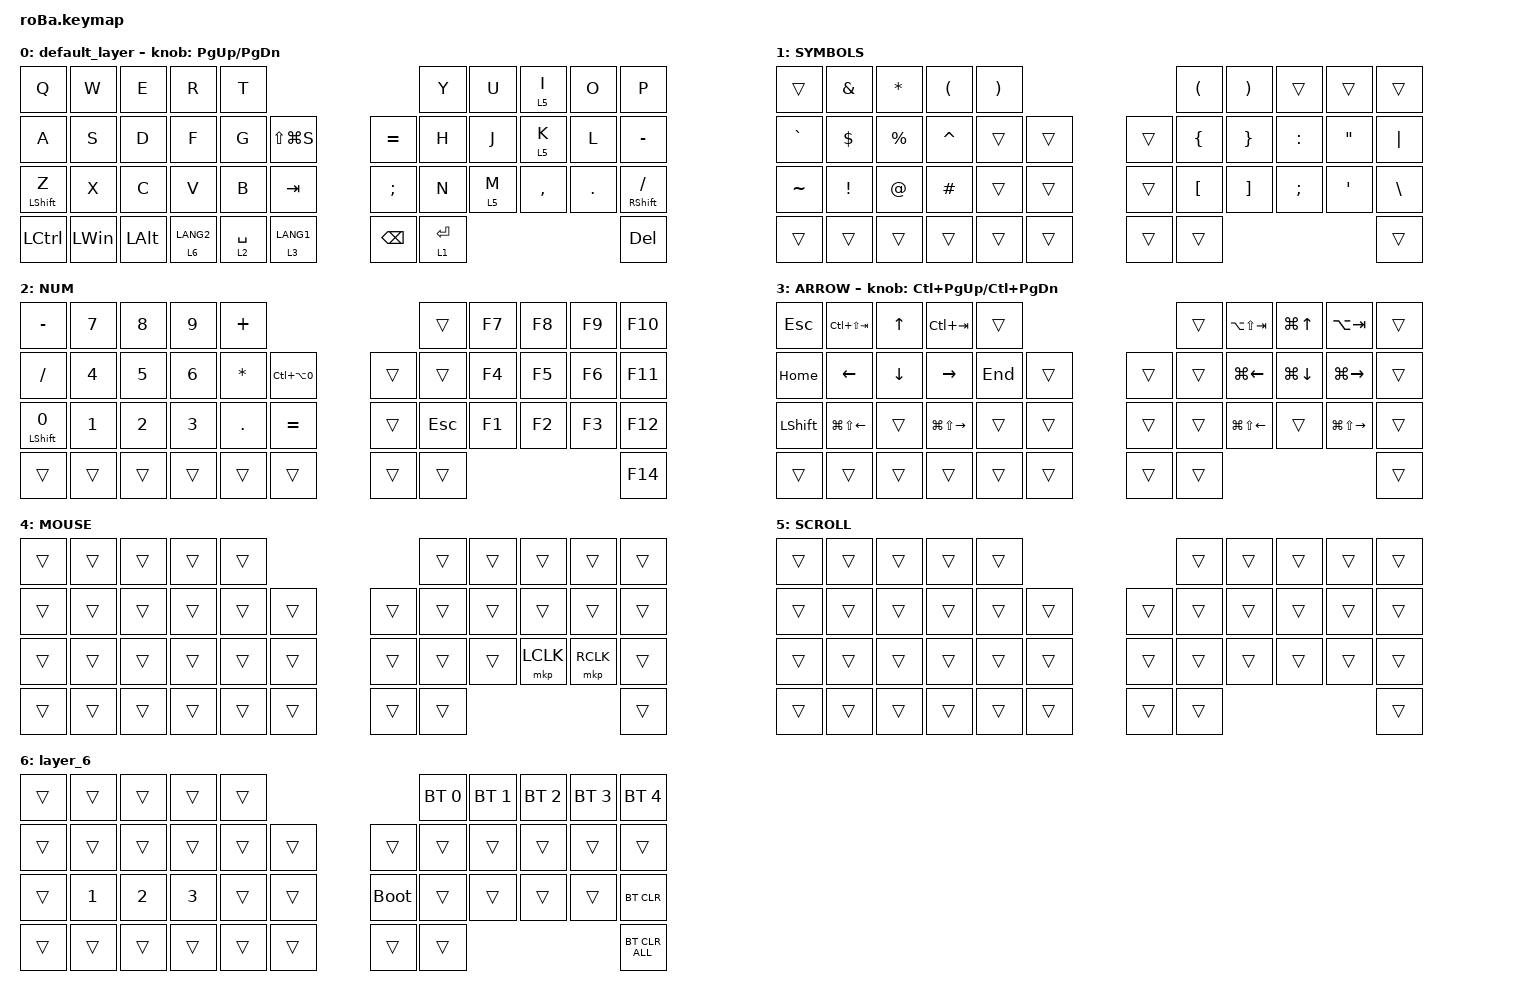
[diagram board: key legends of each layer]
#include <behaviors.dtsi>
#include <dt-bindings/zmk/bt.h>
#include <dt-bindings/zmk/keys.h>
#include <dt-bindings/zmk/pointing.h>

&mt {
    flavor = "balanced";
    quick-tap-ms = <0>;
};

&trackball {
    automouse-layer = <4>;
    scroll-layers = <5>;

    // arrows {
    //     layers = <3>;
    //     bindings =
    //         <&kp RIGHT_ARROW>,
    //         <&kp LEFT_ARROW>,
    //         <&kp UP_ARROW>,
    //         <&kp DOWN_ARROW>;
    //     tick = <10>;
    //     wait-ms = <5>;
    //     tap-ms = <5>;
    // };
};

/ {
    combos {
        compatible = "zmk,combos";

        tab {
            bindings = <&kp TAB>;
            key-positions = <11 12>;
        };

        shift_tab {
            bindings = <&kp LS(TAB)>;
            key-positions = <12 13>;
        };

        muhennkann {
            bindings = <&to_layer_0 INT_MUHENKAN>;
            key-positions = <11 10>;
        };

        double_quotation {
            bindings = <&kp DOUBLE_QUOTES>;
            key-positions = <20 21>;
        };

        eq {
            bindings = <&kp EQUAL>;
            key-positions = <24 25>;
        };

        escape {
            bindings = <&kp ESCAPE>;
            key-positions = <39 40>;
        };
    };

    macros {
        to_layer_0: to_layer_0 {
            compatible = "zmk,behavior-macro-one-param";
            #binding-cells = <1>;
            bindings = <&to 0 &macro_param_1to1 &kp MACRO_PLACEHOLDER>;
            label = "TO_LAYER_0";
        };
    };

    behaviors {
        lt_to_layer_0: lt_to_layer_0 {
            compatible = "zmk,behavior-hold-tap";
            label = "LAYER_TAP_TO_0";
            bindings = <&mo>, <&to_layer_0>;

            #binding-cells = <2>;
            tapping-term-ms = <200>;
        };
    };

    keymap {
        compatible = "zmk,keymap";

        default_layer {
            bindings = <
&kp Q             &kp W         &kp E         &kp R                   &kp T                                                   &kp Y        &kp U    &lt 5 I    &kp O    &kp P
&kp A             &kp S         &kp D         &kp F                   &kp G        &kp LS(LG(S))               &kp EQUAL      &kp H        &kp J    &lt 5 K    &kp L    &kp MINUS
&mt LEFT_SHIFT Z  &kp X         &kp C         &kp V                   &kp B        &kp TAB                     &kp SEMICOLON  &kp N        &lt 5 M  &kp COMMA  &kp DOT  &mt RIGHT_SHIFT SLASH
&kp LCTRL         &kp LEFT_WIN  &kp LEFT_ALT  &lt_to_layer_0 6 LANG2  &lt 2 SPACE  &lt_to_layer_0 3 LANG1      &kp BACKSPACE  &lt 1 ENTER                               &kp DEL
            >;

            sensor-bindings = <&inc_dec_kp PG_UP PAGE_DOWN>;
        };

        SYMBOLS {
            bindings = <
&trans     &kp AMPERSAND    &kp ASTERISK  &kp LEFT_PARENTHESIS  &kp RIGHT_PARENTHESIS                      &kp LEFT_PARENTHESIS  &kp RIGHT_PARENTHESIS  &trans         &trans             &trans
&kp GRAVE  &kp DOLLAR       &kp PERCENT   &kp CARET             &trans                 &trans      &trans  &kp LEFT_BRACE        &kp RIGHT_BRACE        &kp COLON      &kp DOUBLE_QUOTES  &kp PIPE
&kp TILDE  &kp EXCLAMATION  &kp AT_SIGN   &kp HASH              &trans                 &trans      &trans  &kp LEFT_BRACKET      &kp RIGHT_BRACKET      &kp SEMICOLON  &kp SQT            &kp BACKSLASH
&trans     &trans           &trans        &trans                &trans                 &trans      &trans  &trans                                                                         &trans
            >;
        };

        NUM {
            bindings = <
&kp MINUS          &kp N7  &kp N8  &kp N9  &kp PLUS                                  &trans   &kp F7  &kp F8  &kp F9  &kp F10
&kp SLASH          &kp N4  &kp N5  &kp N6  &kp ASTERISK  &kp LC(LA(N0))      &trans  &trans   &kp F4  &kp F5  &kp F6  &kp F11
&mt LEFT_SHIFT N0  &kp N1  &kp N2  &kp N3  &kp PERIOD    &kp EQUAL           &trans  &kp ESC  &kp F1  &kp F2  &kp F3  &kp F12
&trans             &trans  &trans  &trans  &trans        &trans              &trans  &trans                           &kp F14
            >;
        };

        ARROW {
            bindings = <
&kp ESCAPE      &kp LC(LS(TAB))         &kp UP_ARROW    &kp LC(TAB)              &trans                       &trans  &kp LA(LS(TAB))         &kp LG(UP_ARROW)    &kp LA(TAB)              &trans
&kp HOME        &kp LEFT_ARROW          &kp DOWN_ARROW  &kp RIGHT_ARROW          &kp END  &trans      &trans  &trans  &kp LG(LEFT_ARROW)      &kp LG(DOWN_ARROW)  &kp LG(RIGHT_ARROW)      &trans
&kp LEFT_SHIFT  &kp LG(LS(LEFT_ARROW))  &trans          &kp LG(LS(RIGHT_ARROW))  &trans   &trans      &trans  &trans  &kp LG(LS(LEFT_ARROW))  &trans              &kp LG(LS(RIGHT_ARROW))  &trans
&trans          &trans                  &trans          &trans                   &trans   &trans      &trans  &trans                                                                       &trans
            >;

            sensor-bindings = <&inc_dec_kp LC(PAGE_UP) LC(PAGE_DOWN)>;
        };

        MOUSE {
            bindings = <
&trans  &trans  &trans  &trans  &trans                      &trans  &trans  &trans     &trans     &trans
&trans  &trans  &trans  &trans  &trans  &trans      &trans  &trans  &trans  &trans     &trans     &trans
&trans  &trans  &trans  &trans  &trans  &trans      &trans  &trans  &trans  &mkp LCLK  &mkp RCLK  &trans
&trans  &trans  &trans  &trans  &trans  &trans      &trans  &trans                                &trans
            >;
        };

        SCROLL {
            bindings = <
&trans  &trans  &trans  &trans  &trans                      &trans  &trans  &trans  &trans  &trans
&trans  &trans  &trans  &trans  &trans  &trans      &trans  &trans  &trans  &trans  &trans  &trans
&trans  &trans  &trans  &trans  &trans  &trans      &trans  &trans  &trans  &trans  &trans  &trans
&trans  &trans  &trans  &trans  &trans  &trans      &trans  &trans                          &trans
            >;
        };

        layer_6 {
            bindings = <
&trans  &trans        &trans        &trans        &trans                           &bt BT_SEL 0  &bt BT_SEL 1  &bt BT_SEL 2  &bt BT_SEL 3  &bt BT_SEL 4
&trans  &trans        &trans        &trans        &trans  &trans      &trans       &trans        &trans        &trans        &trans        &trans
&trans  &kp NUMBER_1  &kp NUMBER_2  &kp NUMBER_3  &trans  &trans      &bootloader  &trans        &trans        &trans        &trans        &bt BT_CLR
&trans  &trans        &trans        &trans        &trans  &trans      &trans       &trans                                                  &bt BT_CLR_ALL
            >;
        };
    };
};
